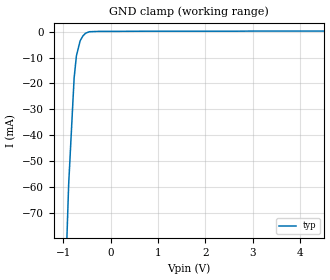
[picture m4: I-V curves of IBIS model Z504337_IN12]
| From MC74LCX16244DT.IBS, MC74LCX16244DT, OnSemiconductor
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| (C) COPYRIGHT 1993-2000
| MENTOR GRAPHICS CORPORATION
| ICX STANDARD LIBRARY, ICX PROJECT MODELING,
| ICX CUSTOM MODELING, ICX VENDOR MODEL
| ALL RIGHTS RESERVED.
| THE FOLLOWING ARE TRADEMARKS OR SERVICE MARKS OF
| MENTOR GRAPHICS CORPORATION:ICX (R), ICX STANDARD
| LIBRARY(R), ICX PROJECT MODELING(R), ICX CUSTOM
| MODELING(R), qualityIBIS(TM), MODELVIEWER(TM),
| AND MODELEDITOR(TM)
| ALL COPIES OF SOFTWARE, INCLUDING BUT NOT LIMITED TO
| ANY MODIFICATIONS, ENHANCEMENTS OR DERIVATIVE WORKS,
| MUST CONTAIN ALL MENTOR GRAPHICS CORPORATION'S
| NOTICES AND LEGENDS, INCLUDING THOSE EMBEDDED IN
| SOFTWARE AND THOSE AFFIXED TO SOFTWARE MEDIUM
| AND CONTAINER, AS RECEIVED FROM MENTOR GRAPHICS
| CORPORATION.
| Model Application Version 1.89 2/18/99.
[Model] Z504337_IN12
Model_type Input
Vinl = 800.0mV
Vinh = 2.000V
C_comp 4.000pF NA NA
| variable typ   min   max
[Voltage Range] 3.300V NA NA
[GND Clamp Reference] 0.000V NA NA
[POWER Clamp Reference] 3.300V NA NA
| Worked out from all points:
|   GND clamp passes 1 mA (typ) near -0.55 V on its own axis
[GND Clamp]
-3.3V     -1.686A    NA         NA
-1.011V   -128.3mA   NA         NA
-886.4mV  -59.04mA   NA         NA
-771.4mV  -17.92mA   NA         NA
-722.6mV  -9.263mA   NA         NA
-644.5mV  -3.514mA   NA         NA
-588.4mV  -1.676mA   NA         NA
-532.2mV  -574.4uA   NA         NA
-449.2mV  23.99uA    NA         NA
-224.6mV  169.5uA    NA         NA
6.6V      278.6uA    NA         NA
[POWER Clamp]
-3.3V     0A         NA         NA
6.6V      0A         NA         NA
